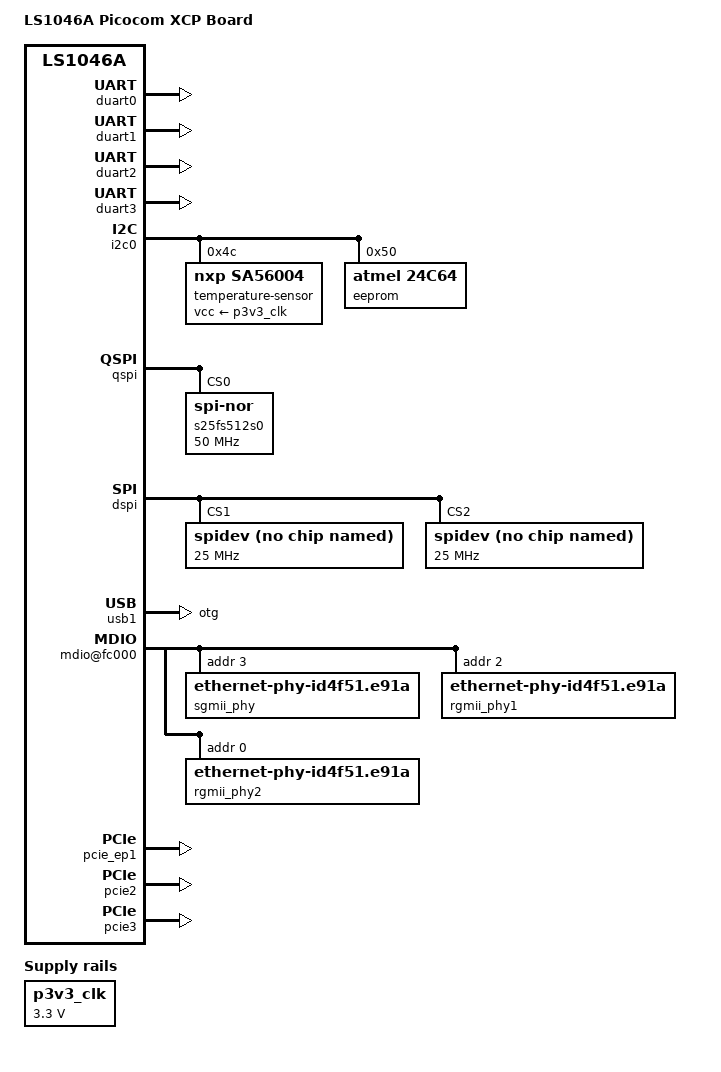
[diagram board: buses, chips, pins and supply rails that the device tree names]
// SPDX-License-Identifier: (GPL-2.0+ OR MIT)
/*
 * Device Tree include file for Picocom LS1046A XCP board.
 *
 * Copyright 2025 Picocom, Inc.
 *
 * Gavin Gao <attinagaoxu@gmail.com>
 */

/dts-v1/;

#include "fsl-ls1046a.dtsi"

/ {
	model = "LS1046A Picocom XCP Board";
	compatible = "fsl,ls1046a-pscb", "fsl,ls1046a";

	aliases {
		serial0 = &duart0;
		serial1 = &duart1;
		serial2 = &duart2;
		serial3 = &duart3;
	};

	chosen {
		stdout-path = "serial0:115200n8";
	};

	p3v3_clk: fixedregulator_3v3 {
		compatible = "regulator-fixed";
		regulator-name = "fixed-supply";
		regulator-min-microvolt = <3300000>;
		regulator-max-microvolt = <3300000>;
	};
};

&duart0 {
	status = "okay";
};

&duart1 {
	status = "okay";
};

&duart2 {
	status = "okay";
};

&duart3 {
	status = "okay";
};

&esdhc {
	mmc-ddr-3_3v;
	cap-mmc-highspeed;
	mmc-hs200-1_8v;
	sd-uhs-sdr104;
	sd-uhs-sdr50;
	sd-uhs-sdr25;
	sd-uhs-sdr12;
};

&i2c0 {
	status = "okay";

	temperature-sensor@4c {
		compatible = "nxp,sa56004";
		reg = <0x4c>;
		vcc-supply = <&p3v3_clk>;
	};

	eeprom@50 {
		compatible = "atmel,24c64";
		reg = <0x50>;
	};
};

&i2c2 {
	status = "disabled";

};

&i2c3 {
	status = "disabled";
};

&ifc {
	status = "disabled";
};

&qspi {
	status = "okay";

	s25fs512s0: flash@0 {
		compatible = "jedec,spi-nor";
		#address-cells = <1>;
		#size-cells = <1>;
		spi-max-frequency = <50000000>;
		spi-rx-bus-width = <1>;
		spi-tx-bus-width = <1>;
		reg = <0>;
	};
};

&dspi {
	status = "okay";

	spidev@1 {
		compatible = "rohm,dh2228fv";
		reg = <1>;
		spi-max-frequency = <25000000>;
		fsl,spi-cs-sck-delay = <15>;
		fsl,spi-sck-cs-delay = <15>;
	};

	spidev@2 {
		compatible = "rohm,dh2228fv";
		reg = <2>;
		spi-max-frequency = <25000000>;
		fsl,spi-cs-sck-delay = <15>;
		fsl,spi-sck-cs-delay = <15>;
	};
};

&usb1 {
	dr_mode = "otg";
};

#include "fsl-ls1046-post.dtsi"

&fman0 {
	ethernet@e4000 {
		phy-handle = <&rgmii_phy1>;
		phy-connection-type = "rgmii-id";
	};

	ethernet@e6000 {
		phy-handle = <&rgmii_phy2>;
		phy-connection-type = "rgmii-id";
	};

	ethernet@e8000 {
		status = "disabled";
	};

	ethernet@ea000 {
		phy-handle = <&sgmii_phy>;
		phy-connection-type = "sgmii";
		local-mac-address = [00 01 02 03 04 05];
	};

	ethernet@f0000 { /* 10GEC1 */
		fixed-link = <1 1 10000 0 0>;
		phy-connection-type = "xgmii";
	};

	ethernet@f2000 { /* 10GEC2 */
		status = "disabled";
	};

	mdio@fc000 {
		sgmii_phy: ethernet-phy@3 {
			compatible = "ethernet-phy-id4f51.e91a", "ethernet-phy-ieee802.3-c22";
			reg = <0x3>;
		};

		rgmii_phy1: ethernet-phy@2 {
			compatible = "ethernet-phy-id4f51.e91a", "ethernet-phy-ieee802.3-c22";
			reg = <0x2>;
			tx-internal-delay-ps = <2000>;
		};

		rgmii_phy2: ethernet-phy@0 {
			compatible = "ethernet-phy-id4f51.e91a", "ethernet-phy-ieee802.3-c22";
			reg = <0x0>;
			tx-internal-delay-ps = <2000>;
		};
	};

	mdio@fd000 {
		status = "disabled";
	};
};

&pcie_ep1 {
	status = "okay";
};

&pcie2 {
	status = "okay";
};

&pcie3 {
	status = "okay";
};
